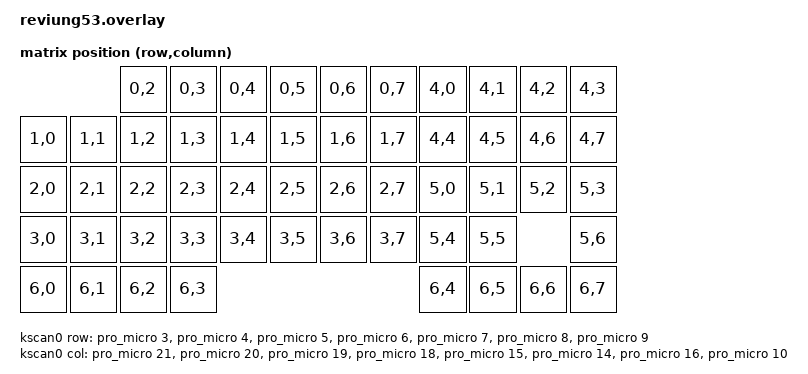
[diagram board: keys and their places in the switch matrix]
/*
 * Copyright (c) 2023 The ZMK Contributors
 *
 * SPDX-License-Identifier: MIT
 */

#include <dt-bindings/zmk/matrix_transform.h>

/ {
    chosen {
        zmk,kscan = &kscan0;
        zmk,matrix_transform = &default_transform;
    };

    default_transform: keymap_transform_0 {
        compatible = "zmk,matrix-transform";
        columns = <8>;
        rows = <7>;

        map = <
                RC(0,2) RC(0,3) RC(0,4) RC(0,5) RC(0,6) RC(0,7) RC(4,0) RC(4,1) RC(4,2) RC(4,3)
RC(1,0) RC(1,1) RC(1,2) RC(1,3) RC(1,4) RC(1,5) RC(1,6) RC(1,7) RC(4,4) RC(4,5) RC(4,6) RC(4,7)
RC(2,0) RC(2,1) RC(2,2) RC(2,3) RC(2,4) RC(2,5) RC(2,6) RC(2,7) RC(5,0) RC(5,1) RC(5,2) RC(5,3)
RC(3,0) RC(3,1) RC(3,2) RC(3,3) RC(3,4) RC(3,5) RC(3,6) RC(3,7) RC(5,4) RC(5,5)         RC(5,6)
RC(6,0) RC(6,1) RC(6,2)      RC(6,3)         RC(6,4)                    RC(6,5) RC(6,6) RC(6,7)
        >;
    };

    kscan0: kscan_0 {
        compatible = "zmk,kscan-gpio-matrix";
        label = "KSCAN";
        diode-direction = "col2row";

        col-gpios
            = <&pro_micro 21 GPIO_ACTIVE_HIGH>
            , <&pro_micro 20 GPIO_ACTIVE_HIGH>
            , <&pro_micro 19 GPIO_ACTIVE_HIGH>
            , <&pro_micro 18 GPIO_ACTIVE_HIGH>
            , <&pro_micro 15 GPIO_ACTIVE_HIGH>
            , <&pro_micro 14 GPIO_ACTIVE_HIGH>
            , <&pro_micro 16 GPIO_ACTIVE_HIGH>
            , <&pro_micro 10 GPIO_ACTIVE_HIGH>
            ;

        row-gpios
            = <&pro_micro 3 (GPIO_ACTIVE_HIGH | GPIO_PULL_DOWN)>
            , <&pro_micro 4 (GPIO_ACTIVE_HIGH | GPIO_PULL_DOWN)>
            , <&pro_micro 5 (GPIO_ACTIVE_HIGH | GPIO_PULL_DOWN)>
            , <&pro_micro 6 (GPIO_ACTIVE_HIGH | GPIO_PULL_DOWN)>
            , <&pro_micro 7 (GPIO_ACTIVE_HIGH | GPIO_PULL_DOWN)>
            , <&pro_micro 8 (GPIO_ACTIVE_HIGH | GPIO_PULL_DOWN)>
            , <&pro_micro 9 (GPIO_ACTIVE_HIGH | GPIO_PULL_DOWN)>
            ;

    };
};
